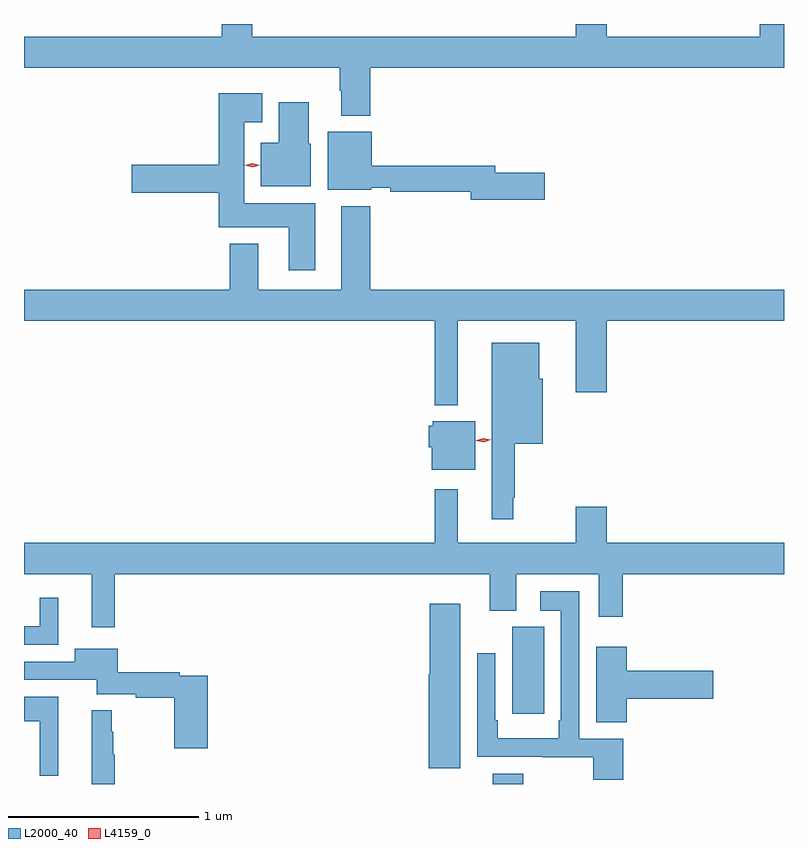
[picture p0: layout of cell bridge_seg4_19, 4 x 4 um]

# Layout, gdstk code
import gdstk
lib = gdstk.Library(unit=1e-6, precision=1e-09)
def R(c, l, rs):  # rectangles x0, y0, x1, y1
    for r in rs: c.add(gdstk.rectangle(r[:2], r[2:], *l))
def P(c, l, *ps):  # polygons
    for p in ps: c.add(gdstk.Polygon(p, *l))
L2000_40 = (2000, 40)
L4159_0 = (4159, 0)

bridge_seg4_19 = lib.new_cell('bridge_seg4_19')
R(bridge_seg4_19, L2000_40, [(1015.721,765.079,1015.881,765.133), (1015.823,765.45,1015.99,765.907)])
P(bridge_seg4_19, L2000_40, [(1015.076,768.848),(1017.253,768.848),(1017.253,769.079),(1017.125,769.079),(1017.125,769.012),(1016.32,769.012),(1016.32,769.079),(1016.156,769.079),(1016.156,769.012),(1014.453,769.012),(1014.453,769.079),(1014.293,769.079),(1014.293,769.012),(1013.253,769.012),(1013.253,768.848),(1014.916,768.848),(1014.916,768.728),(1014.923,768.728),(1014.923,768.596),(1015.076,768.596)],
  [(1014.787,768.136),(1014.412,768.136),(1014.412,768.563),(1014.508,768.563),(1014.508,768.715),(1014.278,768.715),(1014.278,768.338),(1013.82,768.338),(1013.82,768.191),(1014.278,768.191),(1014.278,768.008),(1014.647,768.008),(1014.647,767.784),(1014.787,767.784)],
  [(1014.763,768.45),(1014.751,768.45),(1014.751,768.667),(1014.593,768.667),(1014.593,768.454),(1014.5,768.454),(1014.5,768.224),(1014.763,768.224)],
  [(1015.993,768.296),(1015.732,768.296),(1015.732,768.332),(1015.084,768.332),(1015.084,768.511),(1014.851,768.511),(1014.851,768.206),(1015.08,768.206),(1015.08,768.216),(1015.18,768.216),(1015.18,768.196),(1015.604,768.196),(1015.604,768.154),(1015.993,768.154)],
  [(1015.537,767.516),(1016.156,767.516),(1016.156,767.142),(1016.32,767.142),(1016.32,767.516),(1017.253,767.516),(1017.253,767.68),(1015.076,767.68),(1015.076,768.121),(1014.923,768.121),(1014.923,767.68),(1014.487,767.68),(1014.487,767.923),(1014.335,767.923),(1014.335,767.68),(1013.253,767.68),(1013.253,767.516),(1015.416,767.516),(1015.416,767.072),(1015.537,767.072)],
  [(1015.829,766.585),(1015.837,766.585),(1015.837,766.871),(1015.984,766.871),(1015.984,767.211),(1015.966,767.211),(1015.966,767.401),(1015.715,767.401),(1015.715,766.473),(1015.829,766.473)],
  [(1015.627,766.987),(1015.404,766.987),(1015.404,766.965),(1015.382,766.965),(1015.382,766.851),(1015.4,766.851),(1015.4,766.733),(1015.627,766.733)],
  [(1013.731,766.184),(1015.703,766.184),(1015.703,765.992),(1015.843,765.992),(1015.843,766.184),(1016.279,766.184),(1016.279,765.96),(1016.405,765.96),(1016.405,766.184),(1017.253,766.184),(1017.253,766.348),(1016.32,766.348),(1016.32,766.537),(1016.156,766.537),(1016.156,766.348),(1015.537,766.348),(1015.537,766.63),(1015.416,766.63),(1015.416,766.348),(1013.253,766.348),(1013.253,766.184),(1013.609,766.184),(1013.609,765.903),(1013.731,765.903)],
  [(1016.408,765.318),(1016.175,765.318),(1016.175,766.093),(1015.971,766.093),(1015.971,765.992),(1016.079,765.992),(1016.079,765.415),(1016.067,765.415),(1016.067,765.319),(1015.747,765.319),(1015.747,765.415),(1015.734,765.415),(1015.734,765.766),(1015.638,765.766),(1015.638,765.222),(1015.982,765.222),(1015.982,765.221),(1016.248,765.221),(1016.248,765.102),(1016.408,765.102)],
  [(1013.434,766.06),(1013.336,766.06),(1013.336,765.909),(1013.253,765.909),(1013.253,765.813),(1013.434,765.813)],
  [(1015.549,766.027),(1015.388,766.027),(1015.388,765.657),(1015.382,765.657),(1015.382,765.162),(1015.549,765.162)],
  [(1016.426,765.527),(1016.881,765.527),(1016.881,765.674),(1016.426,765.674),(1016.426,765.802),(1016.264,765.802),(1016.264,765.403),(1016.426,765.403)],
  [(1014.221,765.648),(1014.074,765.648),(1014.074,765.668),(1013.746,765.668),(1013.746,765.79),(1013.519,765.79),(1013.519,765.723),(1013.253,765.723),(1013.253,765.627),(1013.636,765.627),(1013.636,765.552),(1013.842,765.552),(1013.842,765.532),(1014.043,765.532),(1014.043,765.267),(1014.221,765.267)],
  [(1013.434,765.538),(1013.253,765.538),(1013.253,765.41),(1013.336,765.41),(1013.336,765.123),(1013.434,765.123)],
  [(1013.731,765.233),(1013.723,765.233),(1013.723,765.353),(1013.716,765.353),(1013.716,765.466),(1013.609,765.466),(1013.609,765.079),(1013.731,765.079)])
P(bridge_seg4_19, L4159_0, [(1015.672,766.878),(1015.633,766.886),(1015.633,766.887),(1015.633,766.887),(1015.671,766.898),(1015.71,766.89),(1015.71,766.89),(1015.71,766.89)],
  [(1014.456,768.326),(1014.416,768.335),(1014.416,768.335),(1014.416,768.335),(1014.455,768.345),(1014.495,768.336),(1014.495,768.336),(1014.495,768.335)])

lib.write_gds('bridge_seg4_19.gds')
